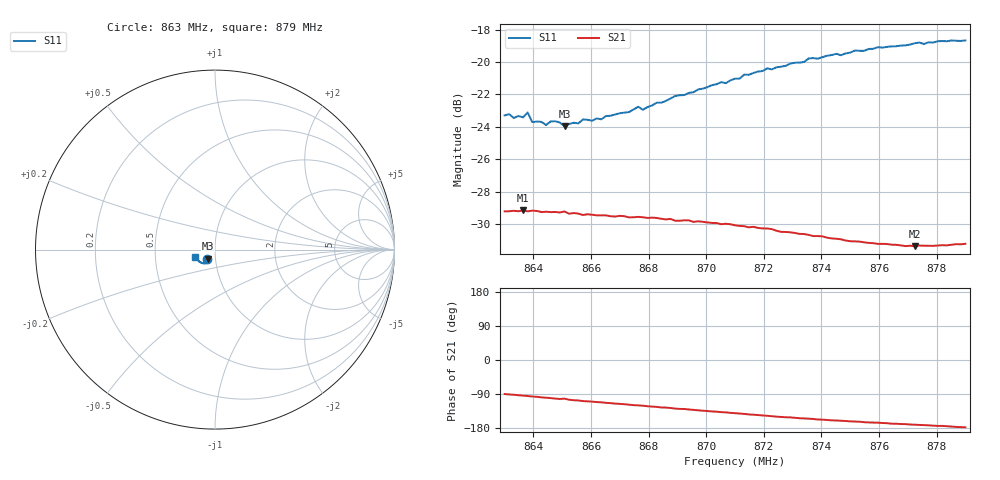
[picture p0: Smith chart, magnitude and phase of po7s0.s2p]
# HZ S RI R 50
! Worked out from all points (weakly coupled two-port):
!   101 points, 863 MHz to 879 MHz, reference 50 ohm
!   highest |S21| = -29.16 dB at 863.64 MHz (marker M1); lowest = -31.4 dB at 877.24 MHz (marker M2)
!   lowest |S11| = -24.0 dB at 865.08 MHz (marker M3), VSWR 1.14, Z = 46.2 - j4.75 ohm
!   |S11| at or under -10 dB: start of sweep to end of sweep
!   S12 and S22 are empty: the file has one direction only
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8.63e8  -0.044 -0.0524  0.000171 -0.0346  0 0  0 0
8.6364e8  -0.0413 -0.0533  -0.0024 -0.0347  0 0  0 0
8.638e8  -0.0451 -0.0533  -0.00306 -0.0345  0 0  0 0
8.6396e8  -0.0381 -0.0529  -0.00382 -0.0345  0 0  0 0
8.6428e8  -0.037 -0.0538  -0.00521 -0.034  0 0  0 0
8.6444e8  -0.0372 -0.052  -0.00566 -0.034  0 0  0 0
8.6476e8  -0.0372 -0.0541  -0.00709 -0.0337  0 0  0 0
8.6508e8  -0.0374 -0.0512  -0.00718 -0.0338  0 0  0 0
8.6556e8  -0.0342 -0.0549  -0.00983 -0.0326  0 0  0 0
8.6572e8  -0.0345 -0.0568  -0.0107 -0.032  0 0  0 0
8.6636e8  -0.0337 -0.0573  -0.0124 -0.0312  0 0  0 0
8.6652e8  -0.0336 -0.0592  -0.0131 -0.0309  0 0  0 0
8.6732e8  -0.0334 -0.0616  -0.0155 -0.0293  0 0  0 0
8.6764e8  -0.0349 -0.0638  -0.0165 -0.0289  0 0  0 0
8.678e8  -0.033 -0.0631  -0.0169 -0.0285  0 0  0 0
8.6844e8  -0.0341 -0.0667  -0.0189 -0.0268  0 0  0 0
8.6892e8  -0.037 -0.0693  -0.02 -0.0254  0 0  0 0
8.71e8  -0.0476 -0.075  -0.0241 -0.02  0 0  0 0
8.7372e8  -0.0691 -0.0762  -0.0264 -0.0119  0 0  0 0
8.7644e8  -0.0927 -0.0625  -0.0267 -0.00562  0 0  0 0
8.7724e8  -0.0996 -0.0561  -0.0266 -0.00435  0 0  0 0
8.79e8  -0.1098 -0.0391  -0.0274 -0.00112  0 0  0 0
